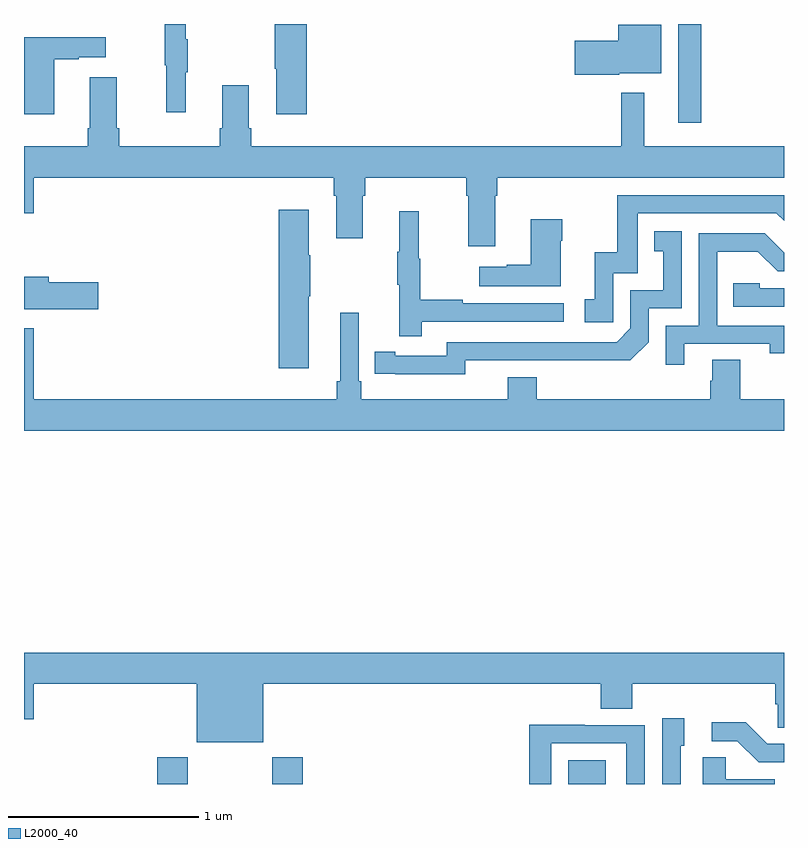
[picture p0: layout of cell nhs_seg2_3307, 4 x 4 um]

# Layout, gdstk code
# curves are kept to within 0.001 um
import gdstk
lib = gdstk.Library(unit=1e-6, precision=1e-09)
def R(c, l, rs):  # rectangles x0, y0, x1, y1
    for r in rs: c.add(gdstk.rectangle(r[:2], r[2:], *l))
def P(c, l, *ps):  # polygons
    for p in ps: c.add(gdstk.Polygon(p, *l))
L2000_40 = (2000, 40)

nhs_seg2_3307 = lib.new_cell('nhs_seg2_3307')
R(nhs_seg2_3307, L2000_40, [(285.701,621.8,285.861,621.94), (286.306,621.8,286.466,621.94), (287.864,621.8,288.061,621.925), (288.443,625.281,288.565,625.8)])
P(nhs_seg2_3307, L2000_40, [(285.851,625.547),(285.862,625.547),(285.862,625.721),(285.851,625.721),(285.851,625.8),(285.517,625.8),(285.517,625.798),(285.741,625.798),(285.741,625.584),(285.748,625.584),(285.748,625.335),(285.851,625.335)],
  [(286.487,625.8),(286.321,625.8),(286.321,625.564),(286.328,625.564),(286.328,625.326),(286.487,625.326)],
  [(288.132,625.541),(288.355,625.541),(288.355,625.795),(288.128,625.795),(288.128,625.712),(287.898,625.712),(287.898,625.534),(288.132,625.534)],
  [(285.16,625.615),(285.287,625.615),(285.287,625.625),(285.43,625.625),(285.43,625.729),(285.002,625.729),(285.002,625.438),(285,625.438),(285,625.326),(285.16,625.326)],
  [(287.479,624.896),(287.492,624.896),(287.492,624.992),(289,624.992),(289,625.156),(288.265,625.156),(288.265,625.438),(288.144,625.438),(288.144,625.156),(286.196,625.156),(286.196,625.252),(286.183,625.252),(286.183,625.477),(286.043,625.477),(286.043,625.252),(286.031,625.252),(286.031,625.156),(285.5,625.156),(285.5,625.252),(285.487,625.252),(285.487,625.519),(285.347,625.519),(285.347,625.252),(285.335,625.252),(285.335,625.156),(285,625.156),(285,624.804),(285.052,624.804),(285.052,624.992),(286.631,624.992),(286.631,624.896),(286.643,624.896),(286.643,624.672),(286.783,624.672),(286.783,624.896),(286.796,624.896),(286.796,624.992),(287.327,624.992),(287.327,624.896),(287.339,624.896),(287.339,624.63),(287.479,624.63)],
  [(288.102,624.489),(288.231,624.489),(288.231,624.804),(288.96,624.804),(289,624.764),(289,624.9),(288.123,624.9),(288.123,624.598),(288.005,624.598),(288.005,624.351),(287.952,624.351),(287.952,624.231),(288.102,624.231)],
  [(286.498,624.367),(286.506,624.367),(286.506,624.584),(286.498,624.584),(286.498,624.823),(286.34,624.823),(286.34,623.988),(286.498,623.988)],
  [(287.093,624.234),(287.842,624.234),(287.842,624.33),(287.309,624.33),(287.309,624.35),(287.086,624.35),(287.086,624.564),(287.078,624.564),(287.078,624.814),(286.976,624.814),(286.976,624.601),(286.965,624.601),(286.965,624.427),(286.976,624.427),(286.976,624.156),(287.093,624.156)],
  [(287.824,624.659),(287.832,624.659),(287.832,624.772),(287.666,624.772),(287.666,624.533),(287.54,624.533),(287.54,624.523),(287.397,624.523),(287.397,624.419),(287.824,624.419)],
  [(287.322,624.03),(288.19,624.029),(288.288,624.126),(288.288,624.303),(288.462,624.303),(288.462,624.709),(288.316,624.709),(288.316,624.603),(288.365,624.603),(288.365,624.399),(288.192,624.399),(288.192,624.198),(288.12,624.126),(287.226,624.126),(287.226,624.054),(286.954,624.054),(286.954,624.074),(286.846,624.074),(286.846,623.958),(287.322,623.957)],
  [(288.475,624.117),(288.926,624.117),(288.926,624.066),(289,624.066),(289,624.213),(288.648,624.213),(288.648,624.602),(288.862,624.602),(288.966,624.498),(289,624.498),(289,624.597),(288.898,624.699),(288.552,624.699),(288.552,624.213),(288.378,624.213),(288.378,624.006),(288.475,624.006)],
  [(285.391,624.44),(285.13,624.44),(285.13,624.469),(285,624.469),(285,624.359),(285.002,624.359),(285.002,624.298),(285.391,624.298)],
  [(289,624.408),(288.873,624.408),(288.873,624.435),(288.733,624.435),(288.733,624.312),(289,624.312)],
  [(289,623.824),(288.771,623.824),(288.771,624.032),(288.623,624.032),(288.623,623.922),(288.611,623.922),(288.611,623.824),(287.699,623.824),(287.699,623.941),(287.546,623.941),(287.546,623.824),(286.775,623.824),(286.775,623.92),(286.761,623.92),(286.761,624.28),(286.664,624.28),(286.664,623.92),(286.645,623.92),(286.645,623.824),(285.052,623.824),(285.052,624.199),(285,624.199),(285,623.66),(289,623.66)],
  [(286.258,622.328),(288.035,622.328),(288.035,622.195),(288.2,622.195),(288.2,622.328),(288.953,622.328),(288.953,622.219),(288.966,622.219),(288.966,622.096),(289,622.096),(289,622.492),(285,622.492),(285,622.14),(285.052,622.14),(285.052,622.328),(285.908,622.328),(285.908,622.019),(286.258,622.019)],
  [(288.456,622.002),(288.475,622.002),(288.475,622.147),(288.36,622.147),(288.36,621.8),(288.456,621.8)],
  [(289,622.011),(288.912,622.011),(288.799,622.124),(288.621,622.124),(288.621,622.026),(288.755,622.026),(288.866,621.915),(289,621.915)],
  [(287.775,622.014),(288.171,622.014),(288.171,621.8),(288.267,621.8),(288.267,622.11),(287.951,622.11),(287.951,622.112),(287.659,622.112),(287.659,621.8),(287.775,621.8)],
  [(288.95,621.826),(288.693,621.826),(288.693,621.941),(288.572,621.941),(288.572,621.8),(288.95,621.8)])

lib.write_gds('nhs_seg2_3307.gds')
